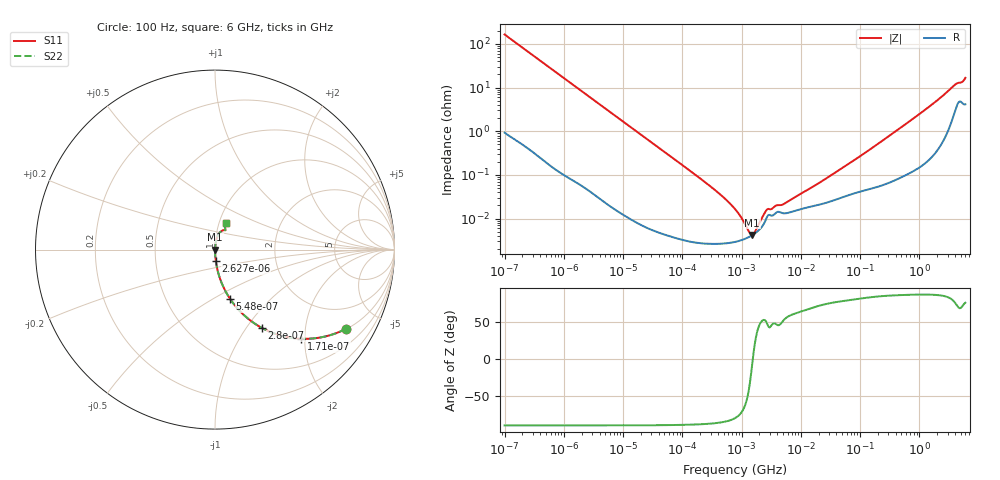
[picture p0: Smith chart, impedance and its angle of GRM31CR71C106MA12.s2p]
!Murata Part Number: GRM31CR71C106MA12
!These Parameters are Measured in Series Mode Connection
!Data Generated on Mar 30, 2021
!  o--ll--o
!Port1  Port2
!  o------o
!Operation Temp=25[degC], DC Bias Voltage=0[V]
!Freq. Start=100[Hz] Stop=6[GHz] 401[Steps]
# Hz S RI R 50
!Freq.(Hz) S11(Real) S11(Imag) S21(Real) S21(Imag) S12(Real) S12(Imag) S22(Real) S22(Imag)
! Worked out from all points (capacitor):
!   401 points, 100 Hz to 6 GHz, reference 50 ohm
!   read as one part in series: C = 9.66 uF near 109 Hz
!   lowest |Z| = 4.21 mohm at 1.516 MHz (marker M1)
!   series resonance near 1.548 MHz, so ESL is about 1.1 nH
!   S11 on the Smith chart (normalised r, x): 100 Hz: 1.02, -3.29; 171 Hz: 1.01, -1.93; 280 Hz: 1.01, -1.18; 548 Hz: 1.00, -0.60; 2.627 kHz: 1.00, -0.13; 6 GHz: 1.08, +0.32
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100  0.7289 -0.4417  0.2711 0.4417  0.2711 0.4417  0.7289 -0.4417
171  0.4812 -0.4967  0.5188 0.4967  0.5188 0.4967  0.4812 -0.4967
280  0.2592 -0.4352  0.7408 0.4352  0.7408 0.4352  0.2592 -0.4352
548  0.0849 -0.2758  0.9151 0.2758  0.9151 0.2758  0.0849 -0.2758
1026  0.0264 -0.1572  0.9736 0.1572  0.9736 0.1572  0.0264 -0.1572
2008  0.00736 -0.0822  0.9926 0.0822  0.9926 0.0822  0.00736 -0.0822
2627  0.00443 -0.0631  0.9956 0.0631  0.9956 0.0631  0.00443 -0.0631
40335  6.5e-05 -0.00417  0.9999 0.00417  0.9999 0.00417  6.5e-05 -0.00417
330837  2.66e-05 -0.000488  1 0.000488  1 0.000488  2.66e-05 -0.000488
541393  2.72e-05 -0.000274  1 0.000274  1 0.000274  2.72e-05 -0.000274
774597  2.93e-05 -0.000163  1 0.000163  1 0.000163  2.93e-05 -0.000163
1059725  3.31e-05 -8.46e-05  1 8.46e-05  1 8.46e-05  3.31e-05 -8.46e-05
1516199  4.19e-05 -4.5e-06  1 4.5e-06  1 4.5e-06  4.19e-05 -4.5e-06
2074311  5.9e-05 6.59e-05  0.9999 -6.59e-05  0.9999 -6.59e-05  5.9e-05 6.59e-05
2713602  0.000112 0.00012  0.9999 -0.00012  0.9999 -0.00012  0.000112 0.00012
5079039  0.000133 0.000168  0.9999 -0.000168  0.9999 -0.000168  0.000133 0.000168
1.555665e7  0.000191 0.000489  0.9998 -0.000489  0.9998 -0.000489  0.000191 0.000489
8.527865e7  0.000395 0.00229  0.9996 -0.00229  0.9996 -0.00229  0.000395 0.00229
3.124326e8  0.000727 0.00786  0.9993 -0.00786  0.9993 -0.00786  0.000727 0.00786
1.497423e9  0.00365 0.037  0.9963 -0.037  0.9963 -0.037  0.00365 0.037
3.8344e9  0.0344 0.1022  0.9656 -0.1022  0.9656 -0.1022  0.0344 0.1022
6e9  0.0624 0.1456  0.9376 -0.1456  0.9376 -0.1456  0.0624 0.1456
